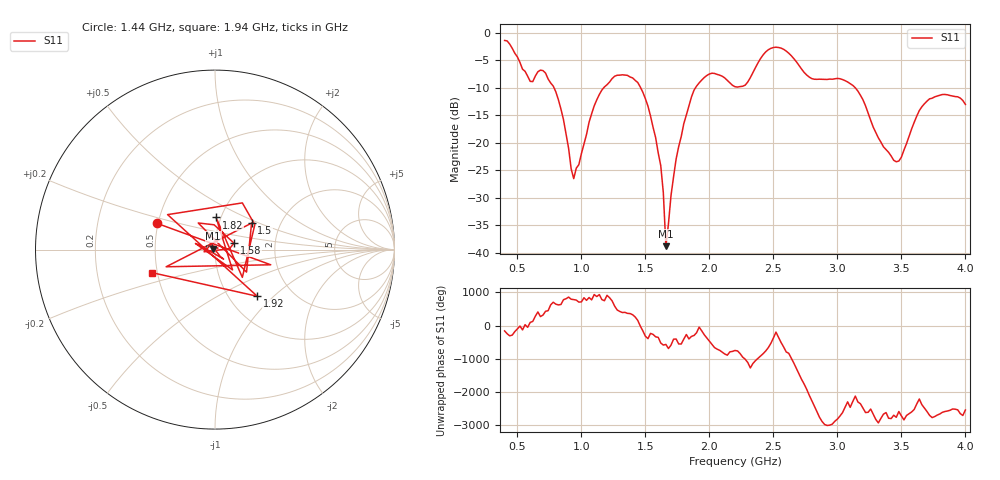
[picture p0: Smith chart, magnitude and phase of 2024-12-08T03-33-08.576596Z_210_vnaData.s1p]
!Created with skrf (http://scikit-rf.org).
# Hz S RI R 50.0
!freq ReS11 ImS11
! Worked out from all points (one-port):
!   181 points, 400 MHz to 4 GHz, reference 50 ohm
!   lowest |S11| = -38.8 dB at 1.66 GHz (marker M1), VSWR 1.02, Z = 49 + j0.582 ohm
!   |S11| at or under -10 dB: 786.1 MHz to 1.174 GHz (387.9 MHz wide, 39.6 % of centre); 1.463 GHz to 1.891 GHz (428 MHz wide, 25.5 % of centre); 3.14 GHz to end of sweep
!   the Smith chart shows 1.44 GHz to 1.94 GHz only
!   S11 on the Smith chart (normalised r, x): 1.44 GHz: 0.49, +0.16; 1.5 GHz: 1.43, +0.45; 1.58 GHz: 1.23, +0.09; 1.82 GHz: 0.95, +0.35; 1.92 GHz: 1.34, -0.80; 1.94 GHz: 0.47, -0.14
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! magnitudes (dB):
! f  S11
! 400 MHz  -1.4
! 600 MHz  -8.8
! 720 MHz  -7.3
! 860 MHz  -15.8
! 940 MHz  -26.5
! 1.12 GHz  -12.2
! 1.3 GHz  -7.7
! 1.44 GHz  -9.0
! 1.5 GHz  -12.0
! 1.58 GHz  -19.0
! 1.64 GHz  -29.0
! 1.66 GHz  -38.8
! 1.7 GHz  -29.6
! 1.76 GHz  -20.7
! 1.82 GHz  -14.9
! 1.92 GHz  -9.1
! 1.94 GHz  -8.6
! 2.04 GHz  -7.4
! 2.2 GHz  -9.8
! 2.28 GHz  -9.5
! 2.48 GHz  -2.8
! 2.66 GHz  -4.7
! 2.8 GHz  -8.3
! 3.1 GHz  -9.2
! 3.44 GHz  -23.2
! 3.56 GHz  -18.8
! 3.72 GHz  -12.0
! 4 GHz  -13.0
